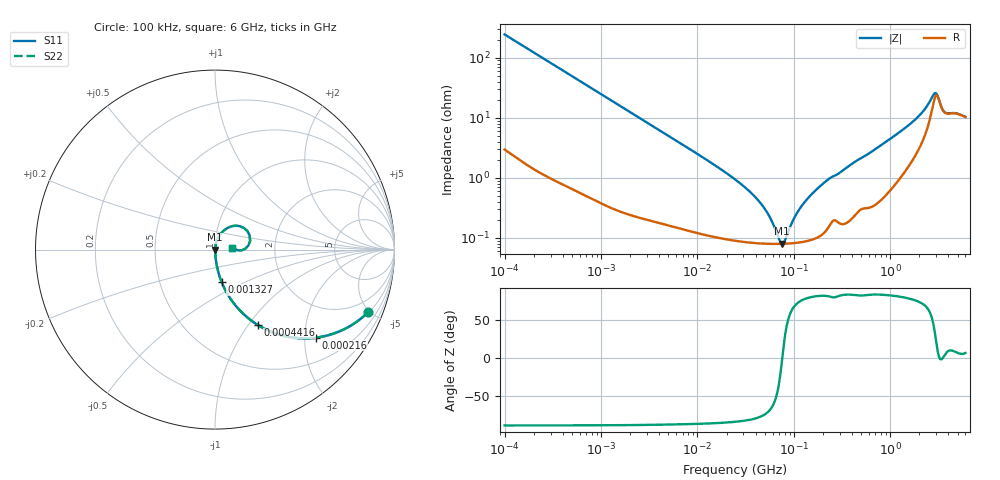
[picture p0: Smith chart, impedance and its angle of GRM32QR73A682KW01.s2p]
!Murata Part Number: GRM32QR73A682KW01
!These Parameters are Measured in Series Mode Connection
!Data Generated on Mar 30, 2021
!  o--ll--o
!Port1  Port2
!  o------o
!Operation Temp=25[degC], DC Bias Voltage=0[V]
!Freq. Start=100[kHz] Stop=6[GHz] 401[Steps]
# Hz S RI R 50
!Freq.(Hz) S11(Real) S11(Imag) S21(Real) S21(Imag) S12(Real) S12(Imag) S22(Real) S22(Imag)
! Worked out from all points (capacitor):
!   401 points, 100 kHz to 6 GHz, reference 50 ohm
!   read as one part in series: C = 6.51 nF near 105.7 kHz
!   lowest |Z| = 79.5 mohm at 75.65 MHz (marker M1)
!   series resonance near 75.78 MHz, so ESL is about 680 pH
!   S11 on the Smith chart (normalised r, x): 100 kHz: 1.06, -4.88; 216 kHz: 1.03, -2.27; 441.6 kHz: 1.01, -1.11; 1.327 MHz: 1.01, -0.37; 6 GHz: 1.21, +0.02
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100000  0.853 -0.3481  0.147 0.3481  0.147 0.3481  0.853 -0.3481
216008  0.5621 -0.4905  0.4379 0.4905  0.4379 0.4905  0.5621 -0.4905
441622  0.2399 -0.4206  0.7601 0.4206  0.7601 0.4206  0.2399 -0.4206
631452  0.136 -0.3359  0.864 0.3359  0.864 0.3359  0.136 -0.3359
1326984  0.0365 -0.1796  0.9635 0.1796  0.9635 0.1796  0.0365 -0.1796
3987316  0.00565 -0.0622  0.9943 0.0622  0.9943 0.0622  0.00565 -0.0622
2.517799e7  0.000969 -0.00905  0.999 0.00905  0.999 0.00905  0.000969 -0.00905
4.739851e7  0.000812 -0.00331  0.9992 0.00331  0.9992 0.00331  0.000812 -0.00331
5.746221e7  0.000796 -0.00191  0.9992 0.00191  0.9992 0.00191  0.000796 -0.00191
7.160533e7  0.000793 -0.000387  0.9992 0.000387  0.9992 0.000387  0.000793 -0.000387
7.565474e7  0.000794 -1.14e-05  0.9992 1.14e-05  0.9992 1.14e-05  0.000794 -1.14e-05
8.216224e7  0.000798 0.000553  0.9992 -0.000553  0.9992 -0.000553  0.000798 0.000553
1.081748e8  0.000834 0.00249  0.9992 -0.00249  0.9992 -0.00249  0.000834 0.00249
1.546735e8  0.000959 0.00535  0.999 -0.00535  0.999 -0.00535  0.000959 0.00535
2.336666e8  0.00168 0.0096  0.9983 -0.0096  0.9983 -0.0096  0.00168 0.0096
9.76689e8  0.00772 0.0426  0.9923 -0.0426  0.9923 -0.0426  0.00772 0.0426
2.10973e9  0.0476 0.1045  0.9524 -0.1045  0.9524 -0.1045  0.0476 0.1045
2.628996e9  0.1196 0.133  0.8804 -0.133  0.8804 -0.133  0.1196 0.133
2.855131e9  0.1794 0.1048  0.8206 -0.1048  0.8206 -0.1048  0.1794 0.1048
3.187187e9  0.1672 0.00382  0.8328 -0.00382  0.8328 -0.00382  0.1672 0.00382
3.65708e9  0.1094 0.00603  0.8906 -0.00603  0.8906 -0.00603  0.1094 0.00603
6e9  0.0934 0.00911  0.9066 -0.00911  0.9066 -0.00911  0.0934 0.00911
